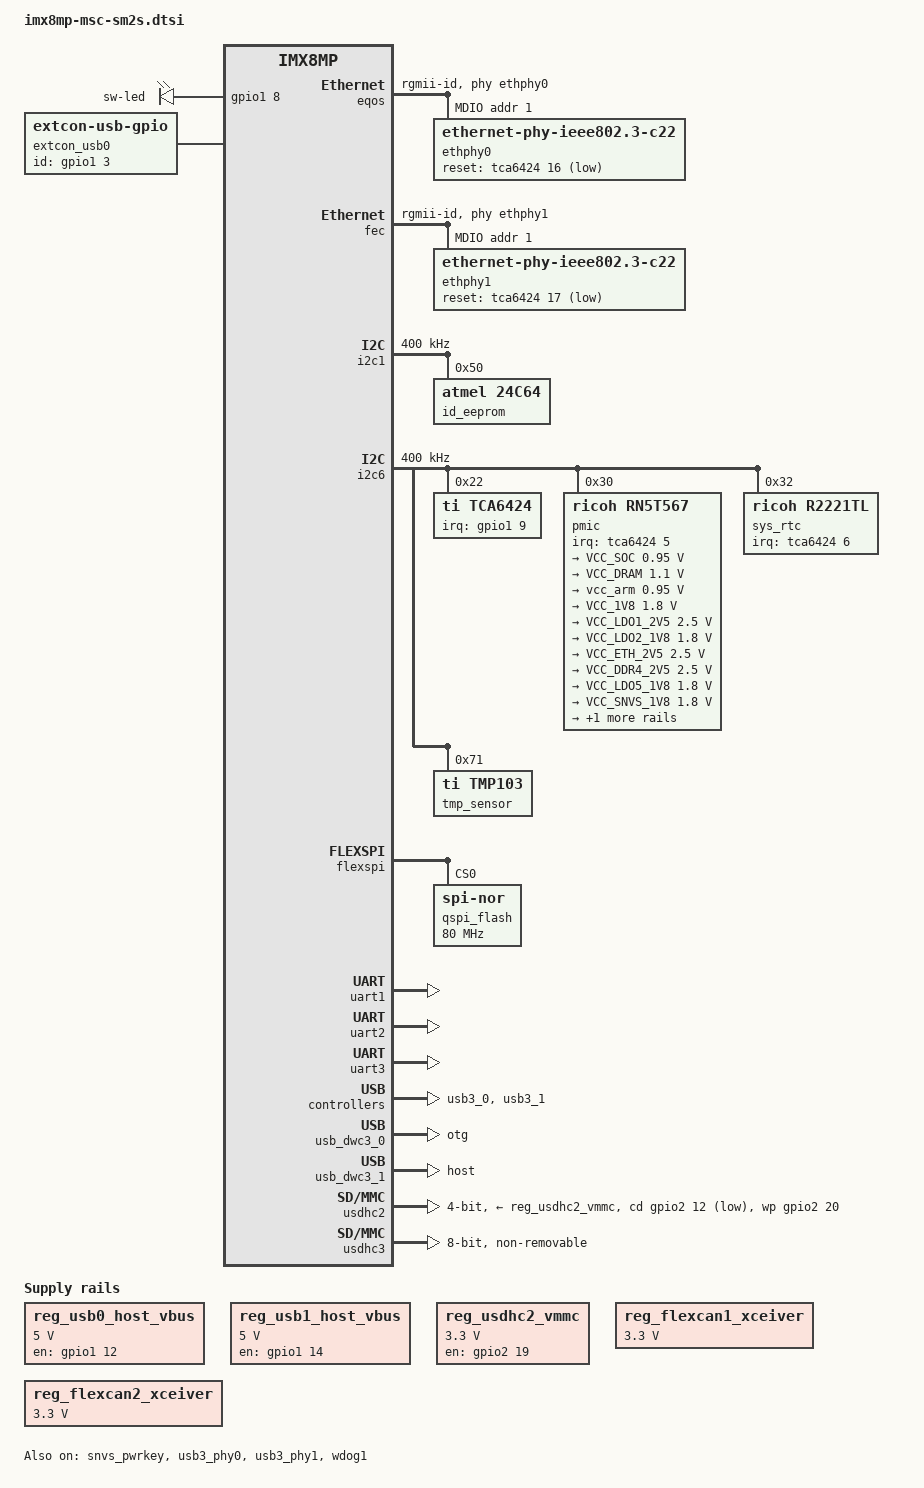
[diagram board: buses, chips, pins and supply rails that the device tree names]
// SPDX-License-Identifier: GPL-2.0
/*
 * Copyright (C) 2022 Avnet Embedded GmbH
 */

/dts-v1/;

#include "imx8mp.dtsi"
#include <dt-bindings/net/ti-dp83867.h>

/ {
	aliases {
		rtc0 = &sys_rtc;
		rtc1 = &snvs_rtc;
	};

	chosen {
		stdout-path = &uart2;
	};

	reg_usb0_host_vbus: regulator-usb0-vbus {
		compatible = "regulator-fixed";
		regulator-name = "usb0_host_vbus";
		pinctrl-names = "default";
		pinctrl-0 = <&pinctrl_usb0_vbus>;
		regulator-min-microvolt = <5000000>;
		regulator-max-microvolt = <5000000>;
		gpio = <&gpio1 12 GPIO_ACTIVE_HIGH>;
		enable-active-high;
	};

	reg_usb1_host_vbus: regulator-usb1-vbus {
		compatible = "regulator-fixed";
		regulator-name = "usb1_host_vbus";
		pinctrl-names = "default";
		pinctrl-0 = <&pinctrl_usb1_vbus>;
		regulator-min-microvolt = <5000000>;
		regulator-max-microvolt = <5000000>;
		gpio = <&gpio1 14 GPIO_ACTIVE_HIGH>;
		enable-active-high;
	};

	reg_usdhc2_vmmc: regulator-usdhc2 {
		compatible = "regulator-fixed";
		pinctrl-names = "default";
		pinctrl-0 = <&pinctrl_usdhc2_vmmc>;
		regulator-name = "VSD_3V3";
		regulator-min-microvolt = <3300000>;
		regulator-max-microvolt = <3300000>;
		gpio = <&gpio2 19 GPIO_ACTIVE_HIGH>;
		enable-active-high;
		startup-delay-us = <100>;
		off-on-delay-us = <12000>;
	};

	reg_flexcan1_xceiver: regulator-flexcan1 {
		compatible = "regulator-fixed";
		regulator-name = "flexcan1-xceiver";
		regulator-min-microvolt = <3300000>;
		regulator-max-microvolt = <3300000>;
	};

	reg_flexcan2_xceiver: regulator-flexcan2 {
		compatible = "regulator-fixed";
		regulator-name = "flexcan2-xceiver";
		regulator-min-microvolt = <3300000>;
		regulator-max-microvolt = <3300000>;
	};

	lcd0_backlight: backlight-0 {
		compatible = "pwm-backlight";
		pinctrl-names = "default";
		pinctrl-0 = <&pinctrl_lcd0_backlight>;
		pwms = <&pwm1 0 100000 0>;
		brightness-levels = <0 255>;
		num-interpolated-steps = <255>;
		default-brightness-level = <255>;
		enable-gpios = <&gpio1 5 GPIO_ACTIVE_HIGH>;
		status = "disabled";
	};

	lcd1_backlight: backlight-1 {
		compatible = "pwm-backlight";
		pinctrl-names = "default";
		pinctrl-0 = <&pinctrl_lcd1_backlight>;
		pwms = <&pwm2 0 100000 0>;
		brightness-levels = <0 255>;
		num-interpolated-steps = <255>;
		default-brightness-level = <255>;
		enable-gpios = <&gpio1 6 GPIO_ACTIVE_HIGH>;
		status = "disabled";
	};

	leds {
		compatible = "gpio-leds";
		pinctrl-names = "default";
		pinctrl-0 = <&pinctrl_leds>;
		status = "okay";

		led-sw {
			label = "sw-led";
			gpios = <&gpio1 8 GPIO_ACTIVE_HIGH>;
			default-state = "off";
			linux,default-trigger = "heartbeat";
		};
	};

	extcon_usb0: extcon-usb0 {
		compatible = "linux,extcon-usb-gpio";
		pinctrl-names = "default";
		pinctrl-0 = <&pinctrl_usb0_extcon>;
		id-gpio = <&gpio1 3 GPIO_ACTIVE_HIGH>;
	};
};

&A53_0 {
	cpu-supply = <&vcc_arm>;
};

&A53_1 {
	cpu-supply = <&vcc_arm>;
};

&A53_2 {
	cpu-supply = <&vcc_arm>;
};

&A53_3 {
	cpu-supply = <&vcc_arm>;
};

&ecspi1 {
	#address-cells = <1>;
	#size-cells = <0>;
	pinctrl-names = "default";
	pinctrl-0 = <&pinctrl_ecspi1>;
	cs-gpios = <0>, <&gpio2 8 GPIO_ACTIVE_LOW>;
};

&ecspi2 {
	#address-cells = <1>;
	#size-cells = <0>;
	pinctrl-names = "default";
	pinctrl-0 = <&pinctrl_ecspi2>;
	cs-gpios = <0>, <&gpio2 9 GPIO_ACTIVE_LOW>;
};

&eqos {
	pinctrl-names = "default";
	pinctrl-0 = <&pinctrl_eqos>;
	phy-mode = "rgmii-id";
	phy-handle = <&ethphy0>;
	status = "okay";

	mdio {
		compatible = "snps,dwmac-mdio";
		#address-cells = <1>;
		#size-cells = <0>;

		ethphy0: ethernet-phy@1 {
			compatible = "ethernet-phy-ieee802.3-c22";
			reg = <1>;
			eee-broken-1000t;
			reset-gpios = <&tca6424 16 GPIO_ACTIVE_LOW>;
			reset-assert-us = <1000>;
			reset-deassert-us = <1000>;
			ti,rx-internal-delay = <DP83867_RGMIIDCTL_2_25_NS>;
			ti,tx-internal-delay = <DP83867_RGMIIDCTL_2_25_NS>;
			ti,fifo-depth = <DP83867_PHYCR_FIFO_DEPTH_4_B_NIB>;
			ti,clk-output-sel = <DP83867_CLK_O_SEL_OFF>;
		};
	};
};

&fec {
	pinctrl-names = "default";
	pinctrl-0 = <&pinctrl_fec>;
	phy-mode = "rgmii-id";
	phy-handle = <&ethphy1>;
	fsl,magic-packet;
	status = "okay";

	mdio {
		#address-cells = <1>;
		#size-cells = <0>;

		ethphy1: ethernet-phy@1 {
			compatible = "ethernet-phy-ieee802.3-c22";
			reg = <1>;
			eee-broken-1000t;
			reset-gpios = <&tca6424 17 GPIO_ACTIVE_LOW>;
			reset-assert-us = <1000>;
			reset-deassert-us = <1000>;
			ti,rx-internal-delay = <DP83867_RGMIIDCTL_2_25_NS>;
			ti,tx-internal-delay = <DP83867_RGMIIDCTL_2_25_NS>;
			ti,fifo-depth = <DP83867_PHYCR_FIFO_DEPTH_4_B_NIB>;
			ti,clk-output-sel = <DP83867_CLK_O_SEL_OFF>;
		};
	};
};

&i2c1 {
	pinctrl-names = "default";
	pinctrl-0 = <&pinctrl_i2c1>;
	clock-frequency = <400000>;
	status = "okay";

	id_eeprom: eeprom@50 {
		compatible = "atmel,24c64";
		reg = <0x50>;
		pagesize = <32>;
	};
};

&i2c2 {
	pinctrl-names = "default";
	pinctrl-0 = <&pinctrl_i2c2>;
	clock-frequency = <400000>;
	status = "disabled";
};

&i2c3 {
	pinctrl-names = "default";
	pinctrl-0 = <&pinctrl_i2c3>;
	clock-frequency = <400000>;
	status = "disabled";
};

&i2c4 {
	pinctrl-names = "default";
	pinctrl-0 = <&pinctrl_i2c4>;
	clock-frequency = <400000>;
	status = "disabled";
};

&i2c5 {
	pinctrl-names = "default";
	pinctrl-0 = <&pinctrl_i2c5>;
	clock-frequency = <400000>;
	status = "disabled";
};

&i2c6 {
	pinctrl-names = "default";
	pinctrl-0 = <&pinctrl_i2c6>;
	clock-frequency = <400000>;
	status = "okay";

	tca6424: gpio@22 {
		compatible = "ti,tca6424";
		reg = <0x22>;
		pinctrl-names = "default";
		pinctrl-0 = <&pinctrl_tca6424>;
		gpio-controller;
		#gpio-cells = <2>;
		gpio-line-names = "BOOT_SEL0#", "BOOT_SEL1#", "BOOT_SEL2#",
			"gbe0_int", "gbe1_int", "pmic_int", "rtc_int", "lvds_int",
			"PCIE_WAKE#", "cam2_rst", "cam2_pwr", "SLEEP#",
			"wifi_pd", "tpm_int", "wifi_int", "PCIE_A_RST#",
			"gbe0_rst", "gbe1_rst", "LID#", "BATLOW#", "CHARGING#",
			"CHARGER_PRSNT#";
		interrupt-parent = <&gpio1>;
		interrupts = <9 IRQ_TYPE_EDGE_RISING>;
		interrupt-controller;
		#interrupt-cells = <2>;
	};

	dsi_lvds_bridge: bridge@2d {
		compatible = "ti,sn65dsi83";
		reg = <0x2d>;
		pinctrl-names = "default";
		pinctrl-0 = <&pinctrl_lvds_bridge>;
		enable-gpios = <&gpio1 7 GPIO_ACTIVE_HIGH>;
		status = "disabled";
	};

	pmic: pmic@30 {
		compatible = "ricoh,rn5t567";
		reg = <0x30>;
		interrupt-parent = <&tca6424>;
		interrupts = <5 IRQ_TYPE_EDGE_FALLING>;

		regulators {
			DCDC1 {
				regulator-name = "VCC_SOC";
				regulator-always-on;
				regulator-min-microvolt = <950000>;
				regulator-max-microvolt = <950000>;
			};

			DCDC2 {
				regulator-name = "VCC_DRAM";
				regulator-always-on;
				regulator-min-microvolt = <1100000>;
				regulator-max-microvolt = <1100000>;
			};

			vcc_arm: DCDC3 {
				regulator-name = "VCC_ARM";
				regulator-always-on;
				regulator-min-microvolt = <950000>;
				regulator-max-microvolt = <950000>;
			};

			DCDC4 {
				regulator-name = "VCC_1V8";
				regulator-always-on;
				regulator-min-microvolt = <1800000>;
				regulator-max-microvolt = <1800000>;
			};

			LDO1 {
				regulator-name = "VCC_LDO1_2V5";
				regulator-always-on;
				regulator-min-microvolt = <2500000>;
				regulator-max-microvolt = <2500000>;
			};

			LDO2 {
				regulator-name = "VCC_LDO2_1V8";
				regulator-always-on;
				regulator-min-microvolt = <1800000>;
				regulator-max-microvolt = <1800000>;
			};

			LDO3 {
				regulator-name = "VCC_ETH_2V5";
				regulator-always-on;
				regulator-min-microvolt = <2500000>;
				regulator-max-microvolt = <2500000>;
			};

			LDO4 {
				regulator-name = "VCC_DDR4_2V5";
				regulator-always-on;
				regulator-min-microvolt = <2500000>;
				regulator-max-microvolt = <2500000>;
			};

			LDO5 {
				regulator-name = "VCC_LDO5_1V8";
				regulator-always-on;
				regulator-min-microvolt = <1800000>;
				regulator-max-microvolt = <1800000>;
			};

			LDORTC1 {
				regulator-name = "VCC_SNVS_1V8";
				regulator-always-on;
				regulator-min-microvolt = <1800000>;
				regulator-max-microvolt = <1800000>;
			};

			LDORTC2 {
				regulator-name = "VCC_SNVS_3V3";
				regulator-always-on;
				regulator-min-microvolt = <3300000>;
				regulator-max-microvolt = <3300000>;
			};
		};
	};

	sys_rtc: rtc@32 {
		compatible = "ricoh,r2221tl";
		reg = <0x32>;
		interrupt-parent = <&tca6424>;
		interrupts = <6 IRQ_TYPE_EDGE_FALLING>;
	};

	tmp_sensor: temperature-sensor@71 {
		compatible = "ti,tmp103";
		reg = <0x71>;
	};
};

&flexcan1 {
	pinctrl-names = "default";
	pinctrl-0 = <&pinctrl_flexcan1>;
	xceiver-supply = <&reg_flexcan1_xceiver>;
	status = "disabled";
};

&flexcan2 {
	pinctrl-names = "default";
	pinctrl-0 = <&pinctrl_flexcan2>;
	xceiver-supply = <&reg_flexcan2_xceiver>;
	status = "disabled";
};

&flexspi {
	pinctrl-names = "default";
	pinctrl-0 = <&pinctrl_flexspi0>;
	status = "okay";

	qspi_flash: flash@0 {
		compatible = "jedec,spi-nor";
		reg = <0>;
		#address-cells = <1>;
		#size-cells = <1>;
		spi-max-frequency = <80000000>;
		spi-tx-bus-width = <4>;
		spi-rx-bus-width = <4>;
	};
};

&pwm1 {
	pinctrl-names = "default";
	pinctrl-0 = <&pinctrl_pwm1>;
	status = "disabled";
};

&pwm2 {
	pinctrl-names = "default";
	pinctrl-0 = <&pinctrl_pwm2>;
	status = "disabled";
};

&pwm3 {
	pinctrl-names = "default";
	pinctrl-0 = <&pinctrl_pwm3>;
	status = "disabled";
};

&pwm4 {
	pinctrl-names = "default";
	pinctrl-0 = <&pinctrl_pwm4>;
	status = "disabled";
};

&snvs_pwrkey {
	status = "okay";
};

&uart1 {
	pinctrl-names = "default";
	pinctrl-0 = <&pinctrl_uart1>;
	status = "okay";
};

&uart2 {
	pinctrl-names = "default";
	pinctrl-0 = <&pinctrl_uart2>;
	uart-has-rtscts;
	status = "okay";
};

&uart3 {
	pinctrl-names = "default";
	pinctrl-0 = <&pinctrl_uart3>;
	uart-has-rtscts;
	status = "okay";
};

&uart4 {
	pinctrl-names = "default";
	pinctrl-0 = <&pinctrl_uart4>;
	status = "disabled";
};

&usb3_phy0 {
	vbus-supply = <&reg_usb0_host_vbus>;
	status = "okay";
};

&usb3_phy1 {
	vbus-supply = <&reg_usb1_host_vbus>;
	status = "okay";
};

&usb3_0 {
	status = "okay";
};

&usb3_1 {
	status = "okay";
};

&usb_dwc3_0 {
	dr_mode = "otg";
	hnp-disable;
	srp-disable;
	adp-disable;
	extcon = <&extcon_usb0>;
	status = "okay";
};

&usb_dwc3_1 {
	dr_mode = "host";
	status = "okay";
};

&usdhc2 {
	assigned-clocks = <&clk IMX8MP_CLK_USDHC2>;
	assigned-clock-rates = <400000000>;
	pinctrl-names = "default", "state_100mhz", "state_200mhz";
	pinctrl-0 = <&pinctrl_usdhc2>, <&pinctrl_usdhc2_gpio>;
	pinctrl-1 = <&pinctrl_usdhc2_100mhz>, <&pinctrl_usdhc2_gpio>;
	pinctrl-2 = <&pinctrl_usdhc2_200mhz>, <&pinctrl_usdhc2_gpio>;
	cd-gpios = <&gpio2 12 GPIO_ACTIVE_LOW>;
	wp-gpios = <&gpio2 20 GPIO_ACTIVE_HIGH>;
	bus-width = <4>;
	vmmc-supply = <&reg_usdhc2_vmmc>;
	status = "okay";
};

&usdhc3 {
	assigned-clocks = <&clk IMX8MP_CLK_USDHC3>;
	assigned-clock-rates = <400000000>;
	pinctrl-names = "default", "state_100mhz", "state_200mhz";
	pinctrl-0 = <&pinctrl_usdhc3>;
	pinctrl-1 = <&pinctrl_usdhc3_100mhz>;
	pinctrl-2 = <&pinctrl_usdhc3_200mhz>;
	bus-width = <8>;
	non-removable;
	status = "okay";
};

&wdog1 {
	pinctrl-names = "default";
	pinctrl-0 = <&pinctrl_wdog>;
	fsl,ext-reset-output;
	status = "okay";
};

&iomuxc {
	pinctrl_ecspi1: ecspi1grp {
		fsl,pins =
			<MX8MP_IOMUXC_ECSPI1_MISO__ECSPI1_MISO		0x82>,
			<MX8MP_IOMUXC_ECSPI1_MOSI__ECSPI1_MOSI		0x82>,
			<MX8MP_IOMUXC_ECSPI1_SCLK__ECSPI1_SCLK		0x82>,
			<MX8MP_IOMUXC_ECSPI1_SS0__ECSPI1_SS0		0x40000>,
			<MX8MP_IOMUXC_SD1_DATA6__GPIO2_IO08		0x40000>;
	};

	pinctrl_ecspi2: ecspi2grp {
		fsl,pins =
			<MX8MP_IOMUXC_ECSPI2_MISO__ECSPI2_MISO		0x82>,
			<MX8MP_IOMUXC_ECSPI2_MOSI__ECSPI2_MOSI		0x82>,
			<MX8MP_IOMUXC_ECSPI2_SCLK__ECSPI2_SCLK		0x82>,
			<MX8MP_IOMUXC_ECSPI2_SS0__ECSPI2_SS0		0x40000>,
			<MX8MP_IOMUXC_SD1_DATA7__GPIO2_IO09		0x40000>;
	};

	pinctrl_eqos: eqosgrp {
		fsl,pins =
			<MX8MP_IOMUXC_ENET_MDC__ENET_QOS_MDC		0x3>,
			<MX8MP_IOMUXC_ENET_MDIO__ENET_QOS_MDIO		0x3>,
			<MX8MP_IOMUXC_ENET_RD0__ENET_QOS_RGMII_RD0	0x91>,
			<MX8MP_IOMUXC_ENET_RD1__ENET_QOS_RGMII_RD1	0x91>,
			<MX8MP_IOMUXC_ENET_RD2__ENET_QOS_RGMII_RD2	0x91>,
			<MX8MP_IOMUXC_ENET_RD3__ENET_QOS_RGMII_RD3	0x91>,
			<MX8MP_IOMUXC_ENET_RXC__CCM_ENET_QOS_CLOCK_GENERATE_RX_CLK	0x91>,
			<MX8MP_IOMUXC_ENET_RX_CTL__ENET_QOS_RGMII_RX_CTL	0x91>,
			<MX8MP_IOMUXC_ENET_TD0__ENET_QOS_RGMII_TD0	0x1f>,
			<MX8MP_IOMUXC_ENET_TD1__ENET_QOS_RGMII_TD1	0x1f>,
			<MX8MP_IOMUXC_ENET_TD2__ENET_QOS_RGMII_TD2	0x1f>,
			<MX8MP_IOMUXC_ENET_TD3__ENET_QOS_RGMII_TD3	0x1f>,
			<MX8MP_IOMUXC_ENET_TX_CTL__ENET_QOS_RGMII_TX_CTL	0x1f>,
			<MX8MP_IOMUXC_ENET_TXC__CCM_ENET_QOS_CLOCK_GENERATE_TX_CLK	0x1f>;
	};

	pinctrl_fec: fecgrp {
		fsl,pins =
			<MX8MP_IOMUXC_SAI1_RXD2__ENET1_MDC		0x3>,
			<MX8MP_IOMUXC_SAI1_RXD3__ENET1_MDIO		0x3>,
			<MX8MP_IOMUXC_SAI1_RXD4__ENET1_RGMII_RD0	0x91>,
			<MX8MP_IOMUXC_SAI1_RXD5__ENET1_RGMII_RD1	0x91>,
			<MX8MP_IOMUXC_SAI1_RXD6__ENET1_RGMII_RD2	0x91>,
			<MX8MP_IOMUXC_SAI1_RXD7__ENET1_RGMII_RD3	0x91>,
			<MX8MP_IOMUXC_SAI1_TXC__ENET1_RGMII_RXC		0x91>,
			<MX8MP_IOMUXC_SAI1_TXFS__ENET1_RGMII_RX_CTL	0x91>,
			<MX8MP_IOMUXC_SAI1_TXD0__ENET1_RGMII_TD0	0x1f>,
			<MX8MP_IOMUXC_SAI1_TXD1__ENET1_RGMII_TD1	0x1f>,
			<MX8MP_IOMUXC_SAI1_TXD2__ENET1_RGMII_TD2	0x1f>,
			<MX8MP_IOMUXC_SAI1_TXD3__ENET1_RGMII_TD3	0x1f>,
			<MX8MP_IOMUXC_SAI1_TXD4__ENET1_RGMII_TX_CTL	0x1f>,
			<MX8MP_IOMUXC_SAI1_TXD5__ENET1_RGMII_TXC	0x1f>;
	};

	pinctrl_flexcan1: flexcan1grp {
		fsl,pins =
			<MX8MP_IOMUXC_SAI5_RXD1__CAN1_TX		0x154>,
			<MX8MP_IOMUXC_SAI5_RXD2__CAN1_RX		0x154>;
	};

	pinctrl_flexcan2: flexcan2grp {
		fsl,pins =
			<MX8MP_IOMUXC_SAI5_MCLK__CAN2_RX		0x154>,
			<MX8MP_IOMUXC_SAI5_RXD3__CAN2_TX		0x154>;
	};

	pinctrl_flexspi0: flexspi0grp {
		fsl,pins =
			<MX8MP_IOMUXC_NAND_ALE__FLEXSPI_A_SCLK		0x1c2>,
			<MX8MP_IOMUXC_NAND_CE0_B__FLEXSPI_A_SS0_B	0x82>,
			<MX8MP_IOMUXC_NAND_DATA00__FLEXSPI_A_DATA00	0x82>,
			<MX8MP_IOMUXC_NAND_DATA01__FLEXSPI_A_DATA01	0x82>,
			<MX8MP_IOMUXC_NAND_DATA02__FLEXSPI_A_DATA02	0x82>,
			<MX8MP_IOMUXC_NAND_DATA03__FLEXSPI_A_DATA03	0x82>,
			<MX8MP_IOMUXC_NAND_DQS__GPIO3_IO14		0x19>;
	};

	pinctrl_i2c1: i2c1grp {
		fsl,pins =
			<MX8MP_IOMUXC_I2C1_SCL__I2C1_SCL		0x400001c3>,
			<MX8MP_IOMUXC_I2C1_SDA__I2C1_SDA		0x400001c3>;
	};

	pinctrl_i2c2: i2c2grp {
		fsl,pins =
			<MX8MP_IOMUXC_I2C2_SCL__I2C2_SCL		0x400001c3>,
			<MX8MP_IOMUXC_I2C2_SDA__I2C2_SDA		0x400001c3>;
	};

	pinctrl_i2c3: i2c3grp {
		fsl,pins =
			<MX8MP_IOMUXC_I2C3_SCL__I2C3_SCL		0x400001c3>,
			<MX8MP_IOMUXC_I2C3_SDA__I2C3_SDA		0x400001c3>;
	};

	pinctrl_i2c4: i2c4grp {
		fsl,pins =
			<MX8MP_IOMUXC_I2C4_SCL__I2C4_SCL		0x400001c3>,
			<MX8MP_IOMUXC_I2C4_SDA__I2C4_SDA		0x400001c3>;
	};

	pinctrl_i2c5: i2c5grp {
		fsl,pins =
			<MX8MP_IOMUXC_SPDIF_TX__I2C5_SCL		0x400001c3>,
			<MX8MP_IOMUXC_SPDIF_RX__I2C5_SDA		0x400001c3>;
	};

	pinctrl_i2c6: i2c6grp {
		fsl,pins =
			<MX8MP_IOMUXC_SAI5_RXFS__I2C6_SCL		0x400001c3>,
			<MX8MP_IOMUXC_SAI5_RXC__I2C6_SDA		0x400001c3>;
	};

	pinctrl_lcd0_backlight: lcd0-backlightgrp {
		fsl,pins =
			<MX8MP_IOMUXC_GPIO1_IO05__GPIO1_IO05		0x41>;
	};

	pinctrl_lcd1_backlight: lcd1-backlightgrp {
		fsl,pins =
			<MX8MP_IOMUXC_GPIO1_IO06__GPIO1_IO06		0x41>;
	};

	pinctrl_leds: ledsgrp {
		fsl,pins =
			<MX8MP_IOMUXC_GPIO1_IO08__GPIO1_IO08		0x19>;
	};

	pinctrl_lvds_bridge: lvds-bridgegrp {
		fsl,pins =
			<MX8MP_IOMUXC_GPIO1_IO07__GPIO1_IO07		0x41>;
	};

	pinctrl_pwm1: pwm1grp {
		fsl,pins =
			<MX8MP_IOMUXC_SPDIF_EXT_CLK__PWM1_OUT		0x116>;
	};

	pinctrl_pwm2: pwm2grp {
		fsl,pins =
			<MX8MP_IOMUXC_SAI5_RXD0__PWM2_OUT		0x116>;
	};

	pinctrl_pwm3: pwm3grp {
		fsl,pins =
			<MX8MP_IOMUXC_GPIO1_IO10__PWM3_OUT		0x116>;
	};

	pinctrl_pwm4: pwm4grp {
		fsl,pins =
			<MX8MP_IOMUXC_SAI3_MCLK__PWM4_OUT		0x116>;
	};

	pinctrl_tca6424: tca6424grp {
		fsl,pins =
			<MX8MP_IOMUXC_GPIO1_IO09__GPIO1_IO09		0x41>;
	};

	pinctrl_uart1: uart1grp {
		fsl,pins =
			<MX8MP_IOMUXC_UART1_RXD__UART1_DCE_RX		0x49>,
			<MX8MP_IOMUXC_UART1_TXD__UART1_DCE_TX		0x49>;
	};

	pinctrl_uart2: uart2grp {
		fsl,pins =
			<MX8MP_IOMUXC_SD1_DATA4__GPIO2_IO06		0x1c4>,
			<MX8MP_IOMUXC_SD1_DATA5__GPIO2_IO07		0x1c4>,
			<MX8MP_IOMUXC_UART2_RXD__UART2_DCE_RX		0x49>,
			<MX8MP_IOMUXC_UART2_TXD__UART2_DCE_TX		0x49>;
	};

	pinctrl_uart3: uart3grp {
		fsl,pins =
			<MX8MP_IOMUXC_SD1_RESET_B__GPIO2_IO10		0x1c4>,
			<MX8MP_IOMUXC_SD1_STROBE__GPIO2_IO11		0x1c4>,
			<MX8MP_IOMUXC_UART3_RXD__UART3_DCE_RX		0x49>,
			<MX8MP_IOMUXC_UART3_TXD__UART3_DCE_TX		0x49>;
	};

	pinctrl_uart4: uart4grp {
		fsl,pins =
			<MX8MP_IOMUXC_UART4_RXD__UART4_DCE_RX		0x49>,
			<MX8MP_IOMUXC_UART4_TXD__UART4_DCE_TX		0x49>;
	};

	pinctrl_usb0_extcon: usb0-extcongrp {
		fsl,pins =
			<MX8MP_IOMUXC_GPIO1_IO03__GPIO1_IO03		0x19>;
	};

	pinctrl_usb0_vbus: usb0-vbusgrp {
		fsl,pins =
			<MX8MP_IOMUXC_GPIO1_IO12__GPIO1_IO12		0x19>;
	};

	pinctrl_usb1_vbus: usb1-vbusgrp {
		fsl,pins =
			<MX8MP_IOMUXC_GPIO1_IO14__GPIO1_IO14		0x19>;
	};

	pinctrl_usdhc2_gpio: usdhc2-gpiogrp {
		fsl,pins =
			<MX8MP_IOMUXC_SD2_CD_B__GPIO2_IO12		0x1c4>,
			<MX8MP_IOMUXC_SD2_WP__GPIO2_IO20		0x1c4>;
	};

	pinctrl_usdhc2: usdhc2grp {
		fsl,pins =
			<MX8MP_IOMUXC_SD2_CLK__USDHC2_CLK		0x190>,
			<MX8MP_IOMUXC_SD2_CMD__USDHC2_CMD		0x1d0>,
			<MX8MP_IOMUXC_SD2_DATA0__USDHC2_DATA0		0x1d0>,
			<MX8MP_IOMUXC_SD2_DATA1__USDHC2_DATA1		0x1d0>,
			<MX8MP_IOMUXC_SD2_DATA2__USDHC2_DATA2		0x1d0>,
			<MX8MP_IOMUXC_SD2_DATA3__USDHC2_DATA3		0x1d0>,
			<MX8MP_IOMUXC_GPIO1_IO04__USDHC2_VSELECT	0xc1>;
	};

	pinctrl_usdhc2_vmmc: usdhc2-vmmcgrp {
		fsl,pins =
			<MX8MP_IOMUXC_SD2_RESET_B__GPIO2_IO19		0x41>;
	};

	pinctrl_usdhc2_100mhz: usdhc2-100mhzgrp {
		fsl,pins =
			<MX8MP_IOMUXC_SD2_CLK__USDHC2_CLK		0x194>,
			<MX8MP_IOMUXC_SD2_CMD__USDHC2_CMD		0x1d4>,
			<MX8MP_IOMUXC_SD2_DATA0__USDHC2_DATA0		0x1d4>,
			<MX8MP_IOMUXC_SD2_DATA1__USDHC2_DATA1		0x1d4>,
			<MX8MP_IOMUXC_SD2_DATA2__USDHC2_DATA2		0x1d4>,
			<MX8MP_IOMUXC_SD2_DATA3__USDHC2_DATA3		0x1d4>,
			<MX8MP_IOMUXC_GPIO1_IO04__USDHC2_VSELECT	0xc1>;
	};

	pinctrl_usdhc2_200mhz: usdhc2-200mhzgrp {
		fsl,pins =
			<MX8MP_IOMUXC_SD2_CLK__USDHC2_CLK		0x196>,
			<MX8MP_IOMUXC_SD2_CMD__USDHC2_CMD		0x1d6>,
			<MX8MP_IOMUXC_SD2_DATA0__USDHC2_DATA0		0x1d6>,
			<MX8MP_IOMUXC_SD2_DATA1__USDHC2_DATA1		0x1d6>,
			<MX8MP_IOMUXC_SD2_DATA2__USDHC2_DATA2		0x1d6>,
			<MX8MP_IOMUXC_SD2_DATA3__USDHC2_DATA3		0x1d6>,
			<MX8MP_IOMUXC_GPIO1_IO04__USDHC2_VSELECT	0xc1>;
	};

	pinctrl_usdhc3: usdhc3grp {
		fsl,pins =
			<MX8MP_IOMUXC_NAND_WE_B__USDHC3_CLK		0x190>,
			<MX8MP_IOMUXC_NAND_WP_B__USDHC3_CMD		0x1d0>,
			<MX8MP_IOMUXC_NAND_DATA04__USDHC3_DATA0		0x1d0>,
			<MX8MP_IOMUXC_NAND_DATA05__USDHC3_DATA1		0x1d0>,
			<MX8MP_IOMUXC_NAND_DATA06__USDHC3_DATA2		0x1d0>,
			<MX8MP_IOMUXC_NAND_DATA07__USDHC3_DATA3		0x1d0>,
			<MX8MP_IOMUXC_NAND_RE_B__USDHC3_DATA4		0x1d0>,
			<MX8MP_IOMUXC_NAND_CE2_B__USDHC3_DATA5		0x1d0>,
			<MX8MP_IOMUXC_NAND_CE3_B__USDHC3_DATA6		0x1d0>,
			<MX8MP_IOMUXC_NAND_CLE__USDHC3_DATA7		0x1d0>,
			<MX8MP_IOMUXC_NAND_CE1_B__USDHC3_STROBE		0x190>;
	};

	pinctrl_usdhc3_100mhz: usdhc3-100mhzgrp {
		fsl,pins =
			<MX8MP_IOMUXC_NAND_WE_B__USDHC3_CLK		0x194>,
			<MX8MP_IOMUXC_NAND_WP_B__USDHC3_CMD		0x1d4>,
			<MX8MP_IOMUXC_NAND_DATA04__USDHC3_DATA0		0x1d4>,
			<MX8MP_IOMUXC_NAND_DATA05__USDHC3_DATA1		0x1d4>,
			<MX8MP_IOMUXC_NAND_DATA06__USDHC3_DATA2		0x1d4>,
			<MX8MP_IOMUXC_NAND_DATA07__USDHC3_DATA3		0x1d4>,
			<MX8MP_IOMUXC_NAND_RE_B__USDHC3_DATA4		0x1d4>,
			<MX8MP_IOMUXC_NAND_CE2_B__USDHC3_DATA5		0x1d4>,
			<MX8MP_IOMUXC_NAND_CE3_B__USDHC3_DATA6		0x1d4>,
			<MX8MP_IOMUXC_NAND_CLE__USDHC3_DATA7		0x1d4>,
			<MX8MP_IOMUXC_NAND_CE1_B__USDHC3_STROBE		0x194>;
	};

	pinctrl_usdhc3_200mhz: usdhc3-200mhzgrp {
		fsl,pins =
			<MX8MP_IOMUXC_NAND_WE_B__USDHC3_CLK		0x196>,
			<MX8MP_IOMUXC_NAND_WP_B__USDHC3_CMD		0x1d6>,
			<MX8MP_IOMUXC_NAND_DATA04__USDHC3_DATA0		0x1d6>,
			<MX8MP_IOMUXC_NAND_DATA05__USDHC3_DATA1		0x1d6>,
			<MX8MP_IOMUXC_NAND_DATA06__USDHC3_DATA2		0x1d6>,
			<MX8MP_IOMUXC_NAND_DATA07__USDHC3_DATA3		0x1d6>,
			<MX8MP_IOMUXC_NAND_RE_B__USDHC3_DATA4		0x1d6>,
			<MX8MP_IOMUXC_NAND_CE2_B__USDHC3_DATA5		0x1d6>,
			<MX8MP_IOMUXC_NAND_CE3_B__USDHC3_DATA6		0x1d6>,
			<MX8MP_IOMUXC_NAND_CLE__USDHC3_DATA7		0x1d6>,
			<MX8MP_IOMUXC_NAND_CE1_B__USDHC3_STROBE		0x196>;
	};

	pinctrl_wdog: wdoggrp {
		fsl,pins =
			<MX8MP_IOMUXC_GPIO1_IO02__WDOG1_WDOG_B		0xc6>;
	};
};
